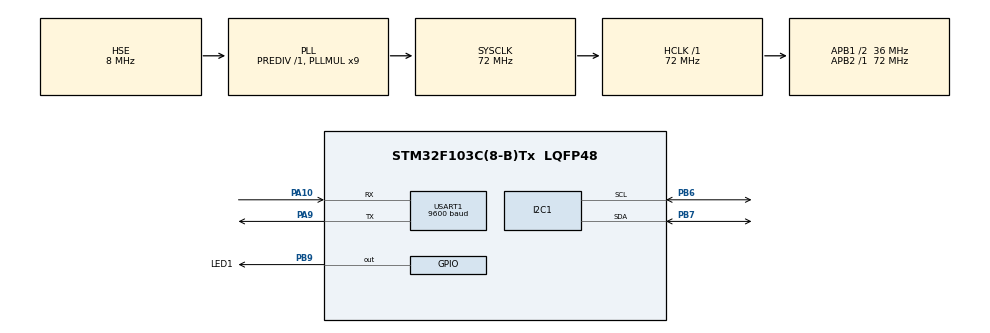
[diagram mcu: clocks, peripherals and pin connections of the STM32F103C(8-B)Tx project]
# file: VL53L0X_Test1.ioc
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Dma.Request0=USART1_RX
Dma.USART1_RX.0.Direction=DMA_PERIPH_TO_MEMORY
Dma.USART1_RX.0.Instance=DMA1_Channel5
Dma.USART1_RX.0.MemDataAlignment=DMA_MDATAALIGN_BYTE
Dma.USART1_RX.0.MemInc=DMA_MINC_ENABLE
Dma.USART1_RX.0.Mode=DMA_NORMAL
Dma.USART1_RX.0.PeriphDataAlignment=DMA_PDATAALIGN_BYTE
Dma.USART1_RX.0.PeriphInc=DMA_PINC_DISABLE
Dma.USART1_RX.0.Priority=DMA_PRIORITY_MEDIUM
Mcu.Family=STM32F1
Mcu.Name=STM32F103C(8-B)Tx
Mcu.Package=LQFP48
NVIC.DMA1_Channel5_IRQn=true\:0\:0\:false\:false\:true\:false\:true\:true
NVIC.PriorityGroup=NVIC_PRIORITYGROUP_4
PA10.Mode=Asynchronous
PA10.Signal=USART1_RX
PA13.Mode=Trace_Asynchronous_SW
PA13.Signal=SYS_JTMS-SWDIO
PA14.Mode=Trace_Asynchronous_SW
PA14.Signal=SYS_JTCK-SWCLK
PA9.Mode=Asynchronous
PA9.Signal=USART1_TX
PB3.Mode=Trace_Asynchronous_SW
PB3.Signal=SYS_JTDO-TRACESWO
PB6.Mode=I2C
PB6.Signal=I2C1_SCL
PB7.Mode=I2C
PB7.Signal=I2C1_SDA
PB9.GPIO_Label=LED1
PB9.Signal=GPIO_Output
PC14-OSC32_IN.Mode=LSE-External-Oscillator
PC14-OSC32_IN.Signal=RCC_OSC32_IN
PC15-OSC32_OUT.Mode=LSE-External-Oscillator
PC15-OSC32_OUT.Signal=RCC_OSC32_OUT
PD0-OSC_IN.Mode=HSE-External-Oscillator
PD0-OSC_IN.Signal=RCC_OSC_IN
PD1-OSC_OUT.Mode=HSE-External-Oscillator
PD1-OSC_OUT.Signal=RCC_OSC_OUT
ProjectManager.HeapSize=0x200
ProjectManager.StackSize=0x400
ProjectManager.TargetToolchain=STM32CubeIDE
RCC.AHBFreq_Value=72000000
RCC.APB1CLKDivider=RCC_HCLK_DIV2
RCC.APB1Freq_Value=36000000
RCC.APB1TimFreq_Value=72000000
RCC.APB2Freq_Value=72000000
RCC.APB2TimFreq_Value=72000000
RCC.HCLKFreq_Value=72000000
RCC.PLLMUL=RCC_PLL_MUL9
RCC.PLLSourceVirtual=RCC_PLLSOURCE_HSE
RCC.SYSCLKFreq_VALUE=72000000
RCC.SYSCLKSource=RCC_SYSCLKSOURCE_PLLCLK
RCC.USBFreq_Value=72000000
USART1.BaudRate=9600
USART1.VirtualMode=VM_ASYNC
board=custom

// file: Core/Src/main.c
/* USER CODE BEGIN Header */
/**
  ******************************************************************************
  * @file           : main.c
  * @brief          : Main program body
  ******************************************************************************
  * @attention
  *
  * Copyright (c) 2023 STMicroelectronics.
  * All rights reserved.
  *
  * This software is licensed under terms that can be found in the LICENSE file
  * in the root directory of this software component.
  * If no LICENSE file comes with this software, it is provided AS-IS.
  *
  ******************************************************************************
  */
/* USER CODE END Header */
#include "main.h"

/* USER CODE BEGIN Includes */
#include "VL53L0X.h"
#include "string.h"
#include "stdio.h"
#include "stdint.h"
#include "stdlib.h"
#include "math.h"
#include "decodeGPS.h"
//GPS_NEO_NMEA_t GPS;
GPS_NEO_NMEA_t GPS;
/* USER CODE END Includes */

I2C_HandleTypeDef hi2c1;

UART_HandleTypeDef huart1;
DMA_HandleTypeDef hdma_usart1_rx;

void SystemClock_Config(void);
static void MX_GPIO_Init(void);
static void MX_DMA_Init(void);
static void MX_I2C1_Init(void);
static void MX_USART1_UART_Init(void);

/* USER CODE BEGIN 0 */
int _write(int file, char *ptr, int len)
{
	int DataIdx;

	for (DataIdx = 0; DataIdx < len; DataIdx++)
	{
//		__io_putchar(*ptr++);
		ITM_SendChar(*ptr++);
	}
	return len;
}

uint8_t uartBuffer[500] = "";

void HAL_UART_RxCpltCallback(UART_HandleTypeDef *huart) {
//	printf("Data receive \n%s\n -----", uartBuffer);
	HAL_UART_Receive_DMA(&huart1, uartBuffer, sizeof(uartBuffer)-1);
}

/* USER CODE END 0 */

int main(void)
{

  /* MCU Configuration--------------------------------------------------------*/

  /* Reset of all peripherals, Initializes the Flash interface and the Systick. */
  HAL_Init();

  /* Configure the system clock */
  SystemClock_Config();

  /* Initialize all configured peripherals */
  MX_GPIO_Init();
  MX_DMA_Init();
  MX_I2C1_Init();
  MX_USART1_UART_Init();

  /* USER CODE BEGIN 2 */
  HAL_UART_Receive_DMA(&huart1, uartBuffer, sizeof(uartBuffer));
  initVL53L0X(1, &hi2c1);
  setSignalRateLimit(200);
  setVcselPulsePeriod(VcselPeriodPreRange, 10);
  setVcselPulsePeriod(VcselPeriodFinalRange, 14);
  setMeasurementTimingBudget(300 * 1000UL);
  uint16_t distance;
  char data[100]="$";
  GPS_NEO_NMEA_Init();
  /* USER CODE END 2 */

  /* Infinite loop */
  /* USER CODE BEGIN WHILE */
  while (1)
  {

	  char *token;
	  token = strtok(uartBuffer, "$");
	  while (token!=NULL) {
		  token = strtok(NULL,"$");
		  if (token[2]=='G' && token[3]=='G' && token[4]=='A') {
			  strcpy(data+1,token);
			  break;
		  }
	  }
	  printf("TOKEN1: %s\n",data);
	  TypeStatusDecode_t a;
	  a = GPS.Decode(data, sizeof(data));

	  HAL_GPIO_WritePin(GPIOB, GPIO_PIN_9, GPIO_PIN_SET);
	  HAL_Delay(100);
	  HAL_GPIO_WritePin(GPIOB, GPIO_PIN_9, GPIO_PIN_RESET);
	  HAL_Delay(100);
	  distance = readRangeSingleMillimeters(&distance);
//	  printf("Distance is %d", distance)'

    /* USER CODE END WHILE */

  }
}

void SystemClock_Config(void)
{
  RCC_OscInitTypeDef RCC_OscInitStruct = {0};
  RCC_ClkInitTypeDef RCC_ClkInitStruct = {0};

  /** Initializes the RCC Oscillators according to the specified parameters
  * in the RCC_OscInitTypeDef structure.
  */
  RCC_OscInitStruct.OscillatorType = RCC_OSCILLATORTYPE_HSE;
  RCC_OscInitStruct.HSEState = RCC_HSE_ON;
  RCC_OscInitStruct.HSEPredivValue = RCC_HSE_PREDIV_DIV1;
  RCC_OscInitStruct.HSIState = RCC_HSI_ON;
  RCC_OscInitStruct.PLL.PLLState = RCC_PLL_ON;
  RCC_OscInitStruct.PLL.PLLSource = RCC_PLLSOURCE_HSE;
  RCC_OscInitStruct.PLL.PLLMUL = RCC_PLL_MUL9;
  if (HAL_RCC_OscConfig(&RCC_OscInitStruct) != HAL_OK)
  {
    Error_Handler();
  }

  /** Initializes the CPU, AHB and APB buses clocks
  */
  RCC_ClkInitStruct.ClockType = RCC_CLOCKTYPE_HCLK|RCC_CLOCKTYPE_SYSCLK
                              |RCC_CLOCKTYPE_PCLK1|RCC_CLOCKTYPE_PCLK2;
  RCC_ClkInitStruct.SYSCLKSource = RCC_SYSCLKSOURCE_PLLCLK;
  RCC_ClkInitStruct.AHBCLKDivider = RCC_SYSCLK_DIV1;
  RCC_ClkInitStruct.APB1CLKDivider = RCC_HCLK_DIV2;
  RCC_ClkInitStruct.APB2CLKDivider = RCC_HCLK_DIV1;

  if (HAL_RCC_ClockConfig(&RCC_ClkInitStruct, FLASH_LATENCY_2) != HAL_OK)
  {
    Error_Handler();
  }
}

static void MX_I2C1_Init(void)
{

  hi2c1.Instance = I2C1;
  hi2c1.Init.ClockSpeed = 100000;
  hi2c1.Init.DutyCycle = I2C_DUTYCYCLE_2;
  hi2c1.Init.OwnAddress1 = 0;
  hi2c1.Init.AddressingMode = I2C_ADDRESSINGMODE_7BIT;
  hi2c1.Init.DualAddressMode = I2C_DUALADDRESS_DISABLE;
  hi2c1.Init.OwnAddress2 = 0;
  hi2c1.Init.GeneralCallMode = I2C_GENERALCALL_DISABLE;
  hi2c1.Init.NoStretchMode = I2C_NOSTRETCH_DISABLE;
  if (HAL_I2C_Init(&hi2c1) != HAL_OK)
  {
    Error_Handler();
  }

}

static void MX_USART1_UART_Init(void)
{

  huart1.Instance = USART1;
  huart1.Init.BaudRate = 9600;
  huart1.Init.WordLength = UART_WORDLENGTH_8B;
  huart1.Init.StopBits = UART_STOPBITS_1;
  huart1.Init.Parity = UART_PARITY_NONE;
  huart1.Init.Mode = UART_MODE_TX_RX;
  huart1.Init.HwFlowCtl = UART_HWCONTROL_NONE;
  huart1.Init.OverSampling = UART_OVERSAMPLING_16;
  if (HAL_UART_Init(&huart1) != HAL_OK)
  {
    Error_Handler();
  }

}

static void MX_DMA_Init(void)
{

  /* DMA controller clock enable */
  __HAL_RCC_DMA1_CLK_ENABLE();

  /* DMA interrupt init */
  /* DMA1_Channel5_IRQn interrupt configuration */
  HAL_NVIC_SetPriority(DMA1_Channel5_IRQn, 0, 0);
  HAL_NVIC_EnableIRQ(DMA1_Channel5_IRQn);

}

static void MX_GPIO_Init(void)
{
  GPIO_InitTypeDef GPIO_InitStruct = {0};

  /* GPIO Ports Clock Enable */
  __HAL_RCC_GPIOC_CLK_ENABLE();
  __HAL_RCC_GPIOD_CLK_ENABLE();
  __HAL_RCC_GPIOA_CLK_ENABLE();
  __HAL_RCC_GPIOB_CLK_ENABLE();

  /*Configure GPIO pin Output Level */
  HAL_GPIO_WritePin(LED1_GPIO_Port, LED1_Pin, GPIO_PIN_RESET);

  /*Configure GPIO pin : LED1_Pin */
  GPIO_InitStruct.Pin = LED1_Pin;
  GPIO_InitStruct.Mode = GPIO_MODE_OUTPUT_PP;
  GPIO_InitStruct.Pull = GPIO_NOPULL;
  GPIO_InitStruct.Speed = GPIO_SPEED_FREQ_LOW;
  HAL_GPIO_Init(LED1_GPIO_Port, &GPIO_InitStruct);

}

void Error_Handler(void)
{
  __disable_irq();
  while (1)
  {
  }
}
